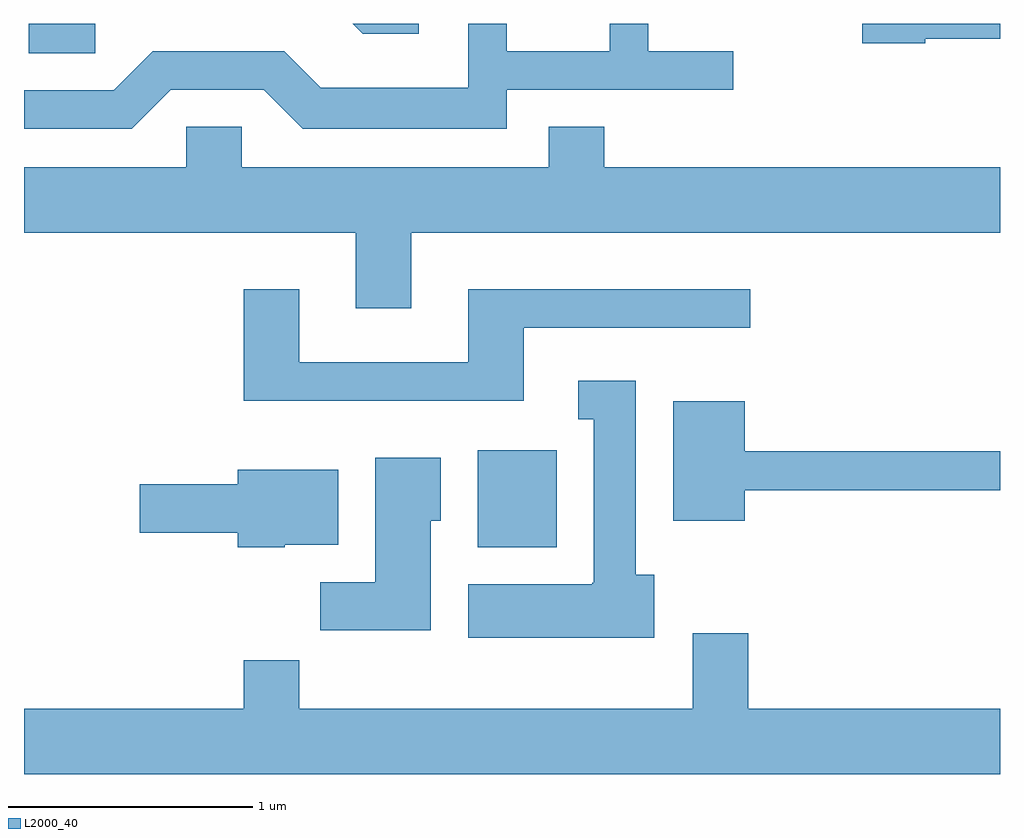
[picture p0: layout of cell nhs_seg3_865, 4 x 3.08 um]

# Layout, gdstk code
import gdstk
lib = gdstk.Library(unit=1e-6, precision=1e-09)
def R(c, l, rs):  # rectangles x0, y0, x1, y1
    for r in rs: c.add(gdstk.rectangle(r[:2], r[2:], *l))
def P(c, l, *ps):  # polygons
    for p in ps: c.add(gdstk.Polygon(p, *l))
L2000_40 = (2000, 40)

nhs_seg3_865 = lib.new_cell('nhs_seg3_865')
R(nhs_seg3_865, L2000_40, [(211.471,1215.746,211.794,1216.144), (209.631,1217.771,209.903,1217.892)])
P(nhs_seg3_865, L2000_40, [(213.304,1217.831),(213.611,1217.831),(213.611,1217.892),(213.046,1217.892),(213.046,1217.811),(213.304,1217.811)],
  [(210.212,1217.621),(210.594,1217.621),(210.754,1217.461),(211.589,1217.461),(211.589,1217.621),(212.518,1217.621),(212.518,1217.779),(212.169,1217.779),(212.169,1217.892),(212.011,1217.892),(212.011,1217.779),(211.589,1217.779),(211.589,1217.892),(211.431,1217.892),(211.431,1217.629),(210.827,1217.629),(210.677,1217.779),(210.139,1217.779),(209.979,1217.619),(209.611,1217.619),(209.611,1217.461),(210.052,1217.461)],
  [(211.228,1217.892),(210.958,1217.892),(210.999,1217.851),(211.228,1217.851)],
  [(211.199,1217.036),(213.611,1217.036),(213.611,1217.304),(211.989,1217.304),(211.989,1217.469),(211.761,1217.469),(211.761,1217.304),(210.504,1217.304),(210.504,1217.469),(210.276,1217.469),(210.276,1217.304),(209.611,1217.304),(209.611,1217.036),(210.971,1217.036),(210.971,1216.726),(211.199,1216.726)],
  [(211.659,1216.646),(212.588,1216.646),(212.588,1216.804),(211.431,1216.804),(211.431,1216.504),(210.739,1216.504),(210.739,1216.804),(210.511,1216.804),(210.511,1216.346),(211.659,1216.346)],
  [(212.194,1215.634),(212.119,1215.634),(212.119,1216.429),(211.883,1216.429),(211.883,1216.271),(211.946,1216.271),(211.946,1215.6),(211.94,1215.6),(211.94,1215.594),(211.431,1215.594),(211.431,1215.376),(212.194,1215.376)],
  [(212.564,1215.981),(213.611,1215.981),(213.611,1216.139),(212.564,1216.139),(212.564,1216.344),(212.271,1216.344),(212.271,1215.856),(212.564,1215.856)],
  [(211.279,1215.856),(211.319,1215.856),(211.319,1216.114),(211.051,1216.114),(211.051,1215.604),(210.826,1215.604),(210.826,1215.406),(211.279,1215.406)],
  [(210.68,1215.756),(210.899,1215.756),(210.899,1216.064),(210.486,1216.064),(210.486,1216.004),(210.086,1216.004),(210.086,1215.806),(210.486,1215.806),(210.486,1215.746),(210.68,1215.746)],
  [(213.611,1215.084),(212.579,1215.084),(212.579,1215.394),(212.351,1215.394),(212.351,1215.084),(210.739,1215.084),(210.739,1215.284),(210.511,1215.284),(210.511,1215.084),(209.611,1215.084),(209.611,1214.816),(213.611,1214.816)])

lib.write_gds('nhs_seg3_865.gds')
